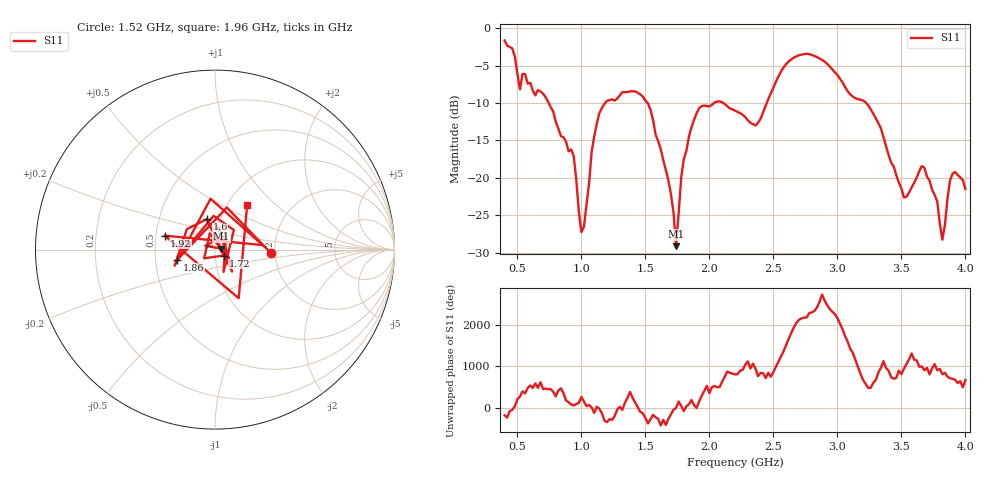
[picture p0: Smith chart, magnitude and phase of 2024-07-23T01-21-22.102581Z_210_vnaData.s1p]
!Created with skrf (http://scikit-rf.org).
# Hz S RI R 50.0
!freq ReS11 ImS11
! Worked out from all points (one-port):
!   181 points, 400 MHz to 4 GHz, reference 50 ohm
!   lowest |S11| = -29.1 dB at 1.74 GHz (marker M1), VSWR 1.07, Z = 53.6 + j0.599 ohm
!   |S11| at or under -10 dB: 744.5 MHz to 1.185 GHz (440.5 MHz wide, 45.7 % of centre); 1.518 GHz to 2.036 GHz (518.1 MHz wide, 29.2 % of centre); 3.225 GHz to end of sweep (the widest 3 of 4)
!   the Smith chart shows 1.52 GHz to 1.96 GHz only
!   S11 on the Smith chart (normalised r, x): 1.52 GHz: 1.91, -0.08; 1.6 GHz: 0.86, +0.30; 1.72 GHz: 1.10, -0.07; 1.86 GHz: 0.65, -0.08; 1.92 GHz: 0.56, +0.09; 1.96 GHz: 1.24, +0.67
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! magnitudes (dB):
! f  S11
! 400 MHz  -1.7
! 520 MHz  -8.2
! 700 MHz  -8.8
! 860 MHz  -14.6
! 940 MHz  -17.1
! 1 GHz  -27.2
! 1.14 GHz  -11.4
! 1.3 GHz  -9.0
! 1.52 GHz  -10.0
! 1.6 GHz  -15.1
! 1.72 GHz  -24.7
! 1.74 GHz  -29.1
! 1.76 GHz  -24.7
! 1.8 GHz  -17.5
! 1.86 GHz  -13.2
! 1.92 GHz  -10.7
! 1.96 GHz  -10.3
! 2.2 GHz  -11.0
! 2.36 GHz  -13.0
! 2.66 GHz  -3.9
! 3.1 GHz  -8.8
! 3.28 GHz  -11.4
! 3.56 GHz  -21.9
! 3.68 GHz  -18.7
! 3.78 GHz  -23.1
! 3.82 GHz  -28.2
! 3.9 GHz  -19.4
! 4 GHz  -21.5
